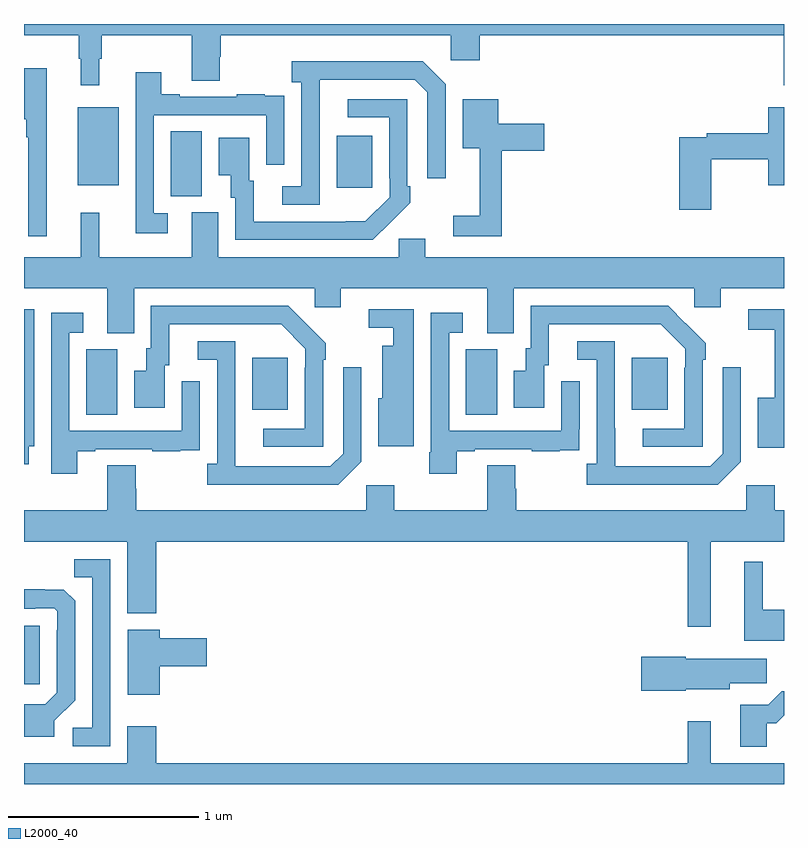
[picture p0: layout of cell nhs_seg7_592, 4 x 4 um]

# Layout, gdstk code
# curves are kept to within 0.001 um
import gdstk
lib = gdstk.Library(unit=1e-6, precision=1e-09)
def R(c, l, rs):  # rectangles x0, y0, x1, y1
    for r in rs: c.add(gdstk.rectangle(r[:2], r[2:], *l))
def P(c, l, *ps):  # polygons
    for p in ps: c.add(gdstk.Polygon(p, *l))
L2000_40 = (2000, 40)

nhs_seg7_592 = lib.new_cell('nhs_seg7_592')
R(nhs_seg7_592, L2000_40, [(157,1006.524,157.083,1006.833), (157.328,1007.944,157.492,1008.288), (159.326,1007.944,159.49,1008.288), (158.201,1007.969,158.389,1008.244), (160.199,1007.969,160.387,1008.244), (157.772,1009.093,157.936,1009.436), (158.645,1009.137,158.833,1009.411), (157.283,1009.151,157.498,1009.561)])
P(nhs_seg7_592, L2000_40, [(157.397,1009.817),(157.408,1009.817),(157.408,1009.94),(157.883,1009.94),(157.883,1009.702),(158.031,1009.702),(158.031,1009.827),(158.036,1009.827),(158.036,1009.94),(159.246,1009.94),(159.246,1009.809),(159.398,1009.809),(159.398,1009.94),(160.999,1009.94),(160.999,1009.677),(161,1009.677),(161,1010),(157,1010),(157,1009.94),(157.287,1009.94),(157.287,1009.817),(157.298,1009.817),(157.298,1009.677),(157.397,1009.677)],
  [(158.556,1009.507),(158.557,1009.707),(159.057,1009.707),(159.123,1009.641),(159.123,1009.188),(159.219,1009.188),(159.219,1009.683),(159.098,1009.804),(158.409,1009.804),(158.409,1009.694),(158.46,1009.694),(158.46,1009.146),(158.358,1009.146),(158.358,1009.05),(158.556,1009.05)],
  [(157.12,1009.768),(157,1009.768),(157,1009.499),(157.011,1009.499),(157.011,1009.403),(157.023,1009.403),(157.023,1008.882),(157.12,1008.882)],
  [(157.756,1009.005),(157.683,1009.005),(157.683,1009.521),(158.274,1009.521),(158.274,1009.26),(158.37,1009.26),(158.37,1009.514),(158.369,1009.514),(158.369,1009.623),(158.267,1009.623),(158.267,1009.63),(158.119,1009.63),(158.119,1009.617),(157.819,1009.617),(157.819,1009.63),(157.723,1009.63),(157.723,1009.747),(157.587,1009.747),(157.587,1008.9),(157.756,1008.9)],
  [(158.927,1008.955),(158.928,1008.954),(159.033,1009.059),(159.033,1009.147),(159.018,1009.147),(159.018,1009.605),(158.703,1009.605),(158.703,1009.509),(158.922,1009.509),(158.922,1009.189),(158.925,1009.189),(158.925,1009.089),(158.797,1008.961),(158.209,1008.96),(158.209,1009.176),(158.185,1009.176),(158.185,1009.402),(158.024,1009.402),(158.024,1009.205),(158.087,1009.205),(158.087,1009.086),(158.112,1009.086),(158.112,1008.864),(158.836,1008.864)],
  [(159.515,1009.334),(159.739,1009.334),(159.739,1009.476),(159.496,1009.476),(159.496,1009.603),(159.308,1009.603),(159.308,1009.346),(159.398,1009.346),(159.398,1008.991),(159.258,1008.991),(159.258,1008.882),(159.515,1008.882)],
  [(160.618,1009.288),(160.916,1009.288),(160.916,1009.151),(161,1009.151),(161,1009.561),(160.916,1009.561),(160.916,1009.424),(160.594,1009.424),(160.594,1009.404),(160.448,1009.404),(160.448,1009.023),(160.618,1009.023)],
  [(157.579,1008.608),(158.529,1008.608),(158.529,1008.51),(158.668,1008.51),(158.668,1008.608),(159.437,1008.608),(159.437,1008.373),(159.577,1008.373),(159.577,1008.608),(160.527,1008.608),(160.527,1008.51),(160.666,1008.51),(160.666,1008.608),(161,1008.608),(161,1008.772),(159.112,1008.772),(159.112,1008.87),(158.973,1008.87),(158.973,1008.772),(158.023,1008.772),(158.023,1009.008),(157.883,1009.008),(157.883,1008.772),(157.397,1008.772),(157.397,1009.006),(157.298,1009.006),(157.298,1008.772),(157,1008.772),(157,1008.608),(157.439,1008.608),(157.439,1008.373),(157.579,1008.373)],
  [(158.574,1008.233),(158.589,1008.233),(158.589,1008.321),(158.392,1008.516),(157.668,1008.516),(157.668,1008.294),(157.643,1008.294),(157.643,1008.175),(157.58,1008.175),(157.58,1007.979),(157.741,1007.979),(157.741,1008.204),(157.765,1008.204),(157.765,1008.42),(158.353,1008.42),(158.481,1008.291),(158.481,1008.191),(158.478,1008.191),(158.478,1007.871),(158.259,1007.871),(158.259,1007.775),(158.574,1007.775)],
  [(160.572,1008.233),(160.587,1008.233),(160.587,1008.321),(160.39,1008.516),(159.666,1008.516),(159.666,1008.294),(159.641,1008.294),(159.641,1008.175),(159.578,1008.175),(159.578,1007.979),(159.739,1007.979),(159.739,1008.204),(159.763,1008.204),(159.763,1008.42),(160.351,1008.42),(160.479,1008.291),(160.479,1008.191),(160.476,1008.191),(160.476,1007.871),(160.257,1007.871),(160.257,1007.775),(160.572,1007.775)],
  [(161,1008.498),(160.812,1008.498),(160.812,1008.39),(160.952,1008.39),(160.952,1008.034),(160.862,1008.034),(160.862,1007.77),(161,1007.77)],
  [(159.052,1008.203),(159.051,1008.203),(159.051,1008.498),(158.814,1008.498),(158.814,1008.402),(158.943,1008.402),(158.943,1008.307),(158.885,1008.307),(158.885,1008.03),(158.864,1008.03),(158.864,1007.777),(159.052,1007.777)],
  [(157.024,1007.777),(157.053,1007.777),(157.053,1008.498),(157,1008.498),(157,1007.682),(157.024,1007.682)],
  [(157.279,1007.751),(157.375,1007.751),(157.375,1007.763),(157.675,1007.763),(157.675,1007.751),(157.823,1007.751),(157.823,1007.757),(157.925,1007.757),(157.925,1007.866),(157.926,1007.866),(157.926,1008.121),(157.83,1008.121),(157.83,1007.859),(157.239,1007.859),(157.239,1008.375),(157.312,1008.375),(157.312,1008.481),(157.143,1008.481),(157.143,1007.634),(157.279,1007.634)],
  [(159.277,1007.751),(159.373,1007.751),(159.373,1007.763),(159.673,1007.763),(159.673,1007.751),(159.821,1007.751),(159.821,1007.757),(159.923,1007.757),(159.923,1007.866),(159.924,1007.866),(159.924,1008.121),(159.828,1008.121),(159.828,1007.859),(159.237,1007.859),(159.237,1008.375),(159.31,1008.375),(159.31,1008.481),(159.141,1008.481),(159.141,1007.746),(159.133,1007.746),(159.133,1007.634),(159.277,1007.634)],
  [(158.775,1007.697),(158.775,1008.193),(158.679,1008.193),(158.679,1007.739),(158.613,1007.673),(158.113,1007.673),(158.112,1008.33),(157.914,1008.33),(157.914,1008.234),(158.016,1008.234),(158.016,1007.686),(157.965,1007.686),(157.965,1007.576),(158.654,1007.576)],
  [(160.773,1007.697),(160.773,1008.193),(160.677,1008.193),(160.677,1007.739),(160.611,1007.673),(160.111,1007.673),(160.11,1008.33),(159.912,1008.33),(159.912,1008.234),(160.014,1008.234),(160.014,1007.686),(159.963,1007.686),(159.963,1007.576),(160.652,1007.576)],
  [(160.615,1007.276),(161,1007.276),(161,1007.44),(160.952,1007.44),(160.952,1007.572),(160.8,1007.572),(160.8,1007.44),(159.59,1007.44),(159.59,1007.553),(159.585,1007.553),(159.585,1007.678),(159.437,1007.678),(159.437,1007.44),(158.949,1007.44),(158.949,1007.572),(158.802,1007.572),(158.802,1007.44),(157.592,1007.44),(157.592,1007.553),(157.587,1007.553),(157.587,1007.678),(157.439,1007.678),(157.439,1007.44),(157,1007.44),(157,1007.276),(157.544,1007.276),(157.544,1006.898),(157.697,1006.898),(157.697,1007.276),(160.494,1007.276),(160.494,1006.827),(160.615,1006.827)],
  [(157.455,1007.184),(157.264,1007.184),(157.264,1007.089),(157.359,1007.089),(157.359,1006.296),(157.257,1006.296),(157.257,1006.2),(157.455,1006.2)],
  [(161,1006.918),(160.888,1006.918),(160.888,1007.17),(160.79,1007.17),(160.79,1006.754),(161,1006.754)],
  [(157.159,1006.332),(157.269,1006.442),(157.269,1006.964),(157.21,1007.023),(157,1007.024),(157,1006.923),(157.058,1006.923),(157.058,1006.926),(157.158,1006.926),(157.176,1006.908),(157.176,1006.808),(157.173,1006.808),(157.173,1006.479),(157.113,1006.419),(157,1006.419),(157,1006.25),(157.159,1006.25)],
  [(157.714,1006.619),(157.963,1006.619),(157.963,1006.766),(157.714,1006.766),(157.714,1006.813),(157.547,1006.813),(157.547,1006.47),(157.714,1006.47)],
  [(160.482,1006.499),(160.714,1006.499),(160.714,1006.531),(160.909,1006.531),(160.909,1006.66),(160.482,1006.66),(160.482,1006.67),(160.248,1006.67),(160.248,1006.492),(160.482,1006.492)],
  [(160.909,1006.319),(160.958,1006.319),(161,1006.361),(161,1006.487),(160.988,1006.487),(160.918,1006.417),(160.769,1006.417),(160.769,1006.197),(160.909,1006.197)],
  [(161,1006.108),(160.615,1006.108),(160.615,1006.33),(160.494,1006.33),(160.494,1006.108),(157.697,1006.108),(157.697,1006.303),(157.544,1006.303),(157.544,1006.108),(157,1006.108),(157,1006),(161,1006)])

lib.write_gds('nhs_seg7_592.gds')
